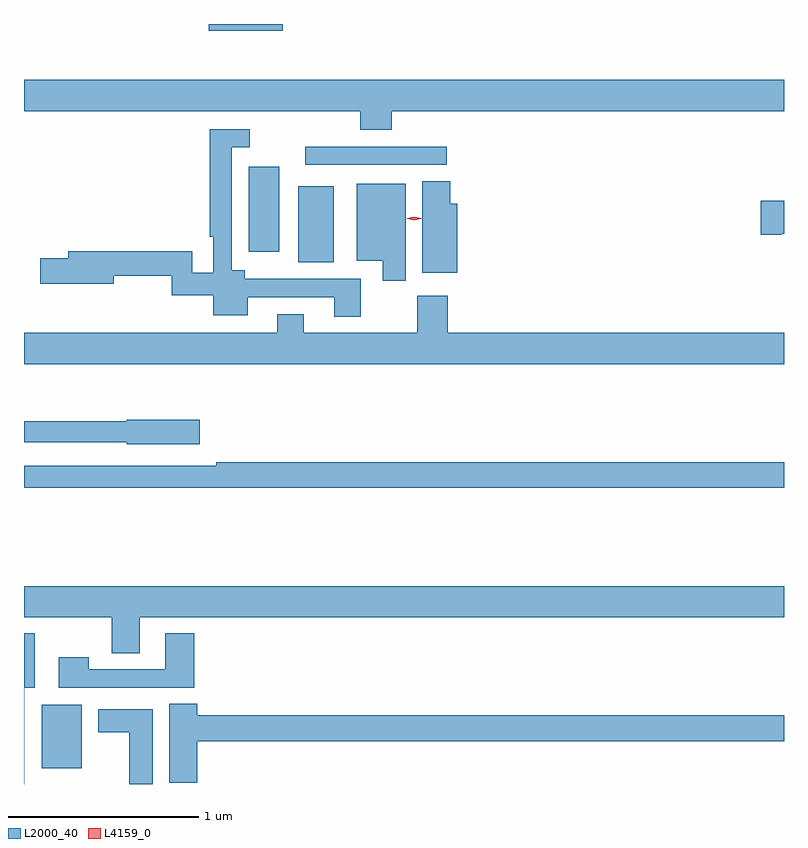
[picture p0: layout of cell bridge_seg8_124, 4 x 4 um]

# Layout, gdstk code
import gdstk
lib = gdstk.Library(unit=1e-6, precision=1e-09)
def R(c, l, rs):  # rectangles x0, y0, x1, y1
    for r in rs: c.add(gdstk.rectangle(r[:2], r[2:], *l))
def P(c, l, *ps):  # polygons
    for p in ps: c.add(gdstk.Polygon(p, *l))
L2000_40 = (2000, 40)
L4159_0 = (4159, 0)

bridge_seg8_124 = lib.new_cell('bridge_seg8_124')
R(bridge_seg8_124, L2000_40, [(782.06,1159.661,782.272,1159.996), (783.41,1162.325,783.598,1162.723), (783.149,1162.38,783.31,1162.828), (783.447,1162.836,784.192,1162.932), (782.94,1163.543,783.328,1163.578)])
P(bridge_seg8_124, L2000_40, [(783.902,1163.12),(785.967,1163.12),(785.967,1163.284),(781.967,1163.284),(781.967,1163.12),(783.737,1163.12),(783.737,1163.021),(783.902,1163.021)],
  [(783.739,1162.236),(783.13,1162.236),(783.13,1162.282),(783.06,1162.282),(783.06,1162.929),(783.154,1162.929),(783.154,1163.025),(782.944,1163.025),(782.944,1162.459),(782.964,1162.459),(782.964,1162.268),(782.853,1162.268),(782.853,1162.382),(782.201,1162.382),(782.201,1162.346),(782.052,1162.346),(782.052,1162.211),(782.44,1162.211),(782.44,1162.254),(782.745,1162.254),(782.745,1162.151),(782.963,1162.151),(782.963,1162.046),(783.145,1162.046),(783.145,1162.14),(783.599,1162.14),(783.599,1162.038),(783.739,1162.038)],
  [(784.246,1162.633),(784.211,1162.633),(784.211,1162.751),(784.064,1162.751),(784.064,1162.268),(784.246,1162.268)],
  [(783.976,1162.738),(783.719,1162.738),(783.719,1162.331),(783.854,1162.331),(783.854,1162.227),(783.976,1162.227)],
  [(785.956,1162.475),(785.967,1162.475),(785.967,1162.647),(785.844,1162.647),(785.844,1162.469),(785.956,1162.469)],
  [(785.967,1161.952),(784.196,1161.952),(784.196,1162.147),(784.036,1162.147),(784.036,1161.952),(783.439,1161.952),(783.439,1162.051),(783.299,1162.051),(783.299,1161.952),(781.967,1161.952),(781.967,1161.788),(785.967,1161.788)],
  [(782.893,1161.495),(782.508,1161.495),(782.508,1161.487),(781.967,1161.487),(781.967,1161.378),(782.508,1161.378),(782.508,1161.365),(782.893,1161.365)],
  [(785.967,1161.272),(782.98,1161.272),(782.98,1161.252),(781.967,1161.252),(781.967,1161.136),(785.967,1161.136)],
  [(782.575,1160.456),(785.967,1160.456),(785.967,1160.62),(781.967,1160.62),(781.967,1160.456),(782.428,1160.456),(782.428,1160.266),(782.575,1160.266)],
  [(782.864,1160.371),(782.711,1160.371),(782.711,1160.181),(782.307,1160.181),(782.307,1160.245),(782.151,1160.245),(782.151,1160.085),(782.864,1160.085)],
  [(781.969,1160.084),(782.023,1160.084),(782.023,1160.371),(781.967,1160.371),(781.967,1159.578),(781.969,1159.578)],
  [(782.879,1159.804),(785.967,1159.804),(785.967,1159.94),(782.879,1159.94),(782.879,1160),(782.732,1160),(782.732,1159.585),(782.879,1159.585)],
  [(782.644,1159.972),(782.357,1159.972),(782.357,1159.85),(782.522,1159.85),(782.522,1159.578),(782.644,1159.578)])
P(bridge_seg8_124, L4159_0, [(784.021,1162.544),(783.983,1162.554),(783.983,1162.554),(783.983,1162.555),(784.02,1162.564),(784.058,1162.555),(784.058,1162.555),(784.058,1162.554)])

lib.write_gds('bridge_seg8_124.gds')
